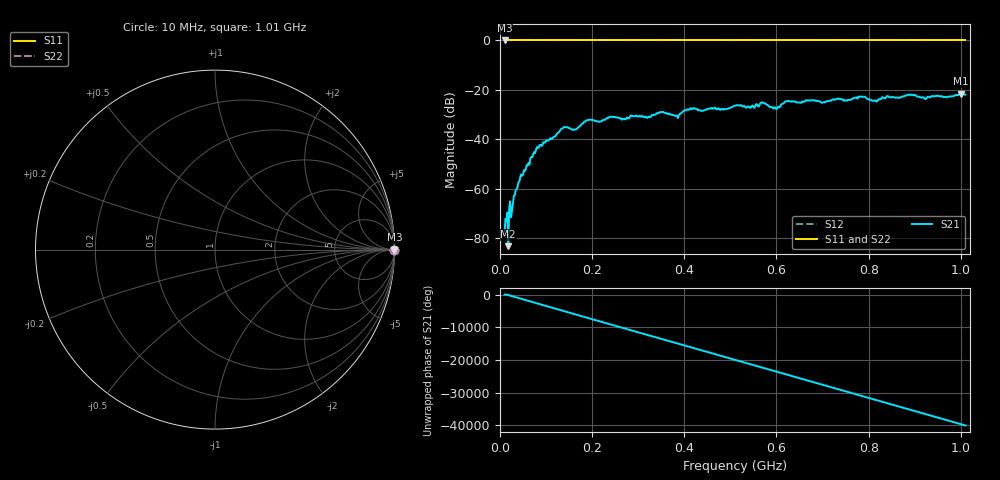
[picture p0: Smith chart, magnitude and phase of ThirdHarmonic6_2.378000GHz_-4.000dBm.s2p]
! 8/17/2025 3:46:02 AM
! C:\ANRITSUVNA\TEMP\TEMP.S2P
! CHANNEL.1
! TR.MEASUREMENT
! RAW.DATA
! RF.CORRECTION.OFF
! AVERAGING.OFF
! IF.BANDWIDTH: 5KHZ
! SWEEPTYPE:  FREQ.SWEEP(Linear)
! Reference Plane Port Info
! PORT:  PORT1  PORT2
! DISTANCE:  0  m  0  m
! TIME:  0  s  0  s
! PHASE.OFFSET:  0  deg.  0  deg.
! LOSS:  0  dB  0  dB
! REF.LOSS:  0  dB  0  dB
! REF.FREQ:  0  Hz  0  Hz
! Power Info
! POWER:  -20  dBm  -20  dBm
! EFF.POWER:  -20  dBm  -20  dBm
! SOURCE.ATTEN:  0  dB  0  dB
! TEST.ATTEN:  0  dB  0  dB
# GHZ S RI R 50.0
! FREQ.GHZ  S11RE  S11IM  S21RE  S21IM  S12RE  S12IM  S22RE  S22IM
!; PortSelection: Port_12
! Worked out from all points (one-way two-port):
!   501 points, 10 MHz to 1.01 GHz, reference 50 ohm
!   highest |S21| = -21.57 dB at 1 GHz (marker M1); lowest = -83.3 dB at 18 MHz (marker M2)
!   lowest |S11| = 0.0 dB at 10 MHz (marker M3)
!   |S11| at or under -10 dB: nowhere
!   |S22| runs from 0.0 to 0.0 dB; largest |S21 - S12| = 1.1
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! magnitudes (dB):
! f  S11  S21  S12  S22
! 10 MHz  0.0  -77.4  0.0  0.0
! 18 MHz  0.0  -83.3  0.0  0.0
! 22 MHz  0.0  -65.1  0.0  0.0
! 32 MHz  0.0  -62.7  0.0  0.0
! 44 MHz  0.0  -55.3  0.0  0.0
! 82 MHz  0.0  -43.6  0.0  0.0
! 136 MHz  0.0  -35.6  0.0  0.0
! 162 MHz  0.0  -36.0  0.0  0.0
! 178 MHz  0.0  -33.8  0.0  0.0
! 344 MHz  0.0  -29.5  0.0  0.0
! 384 MHz  0.0  -30.4  0.0  0.0
! 416 MHz  0.0  -27.7  0.0  0.0
! 510 MHz  0.0  -26.4  0.0  0.0
! 570 MHz  0.0  -25.1  0.0  0.0
! 598 MHz  0.0  -27.4  0.0  0.0
! 622 MHz  0.0  -24.6  0.0  0.0
! 678 MHz  0.0  -24.3  0.0  0.0
! 786 MHz  0.0  -22.9  0.0  0.0
! 814 MHz  0.0  -24.3  0.0  0.0
! 844 MHz  0.0  -22.9  0.0  0.0
! 1 GHz  0.0  -21.6  0.0  0.0
! 1.01 GHz  0.0  -21.9  0.0  0.0
